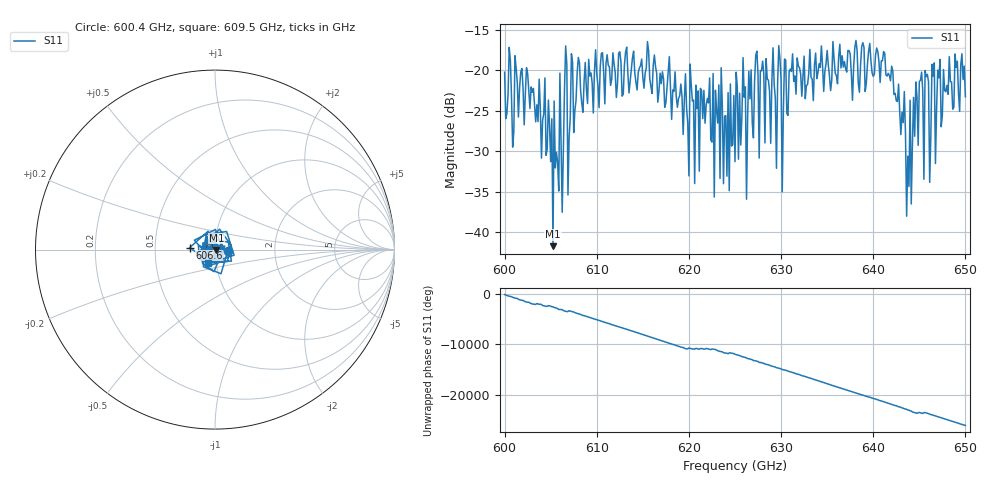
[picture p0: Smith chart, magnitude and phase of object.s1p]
!Created with skrf (http://scikit-rf.org).
# GHz S MA R 50.0
!freq magS11 angS11
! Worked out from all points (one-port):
!   401 points, 600 GHz to 650 GHz, reference 50 ohm
!   lowest |S11| = -41.7 dB at 605.2 GHz (marker M1), VSWR 1.02, Z = 50.8 - j0.157 ohm
!   |S11| at or under -10 dB: start of sweep to end of sweep
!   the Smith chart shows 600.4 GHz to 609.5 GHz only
!   S11 on the Smith chart (normalised r, x): 600.4 GHz: 1.15, -0.02; 606.6 GHz: 0.75, +0.02; 609.5 GHz: 0.91, -0.13
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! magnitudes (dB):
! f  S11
! 600 GHz  -20.2
! 600.4 GHz  -22.9
! 602.6 GHz  -22.6
! 604.6 GHz  -29.7
! 605.2 GHz  -41.7
! 606.2 GHz  -37.6
! 606.6 GHz  -17.0
! 608 GHz  -18.4
! 609.5 GHz  -21.5
! 612.5 GHz  -17.7
! 618.8 GHz  -24.6
! 620.9 GHz  -24.7
! 621.5 GHz  -26.0
! 622.6 GHz  -20.4
! 623.4 GHz  -33.4
! 623.9 GHz  -25.7
! 625 GHz  -31.3
! 626.4 GHz  -25.6
! 627.2 GHz  -18.1
! 630.4 GHz  -18.6
! 631.2 GHz  -18.0
! 637.5 GHz  -18.0
! 641.1 GHz  -17.7
! 643.2 GHz  -26.5
! 643.8 GHz  -30.6
! 643.9 GHz  -34.4
! 645 GHz  -21.4
! 650 GHz  -23.3
